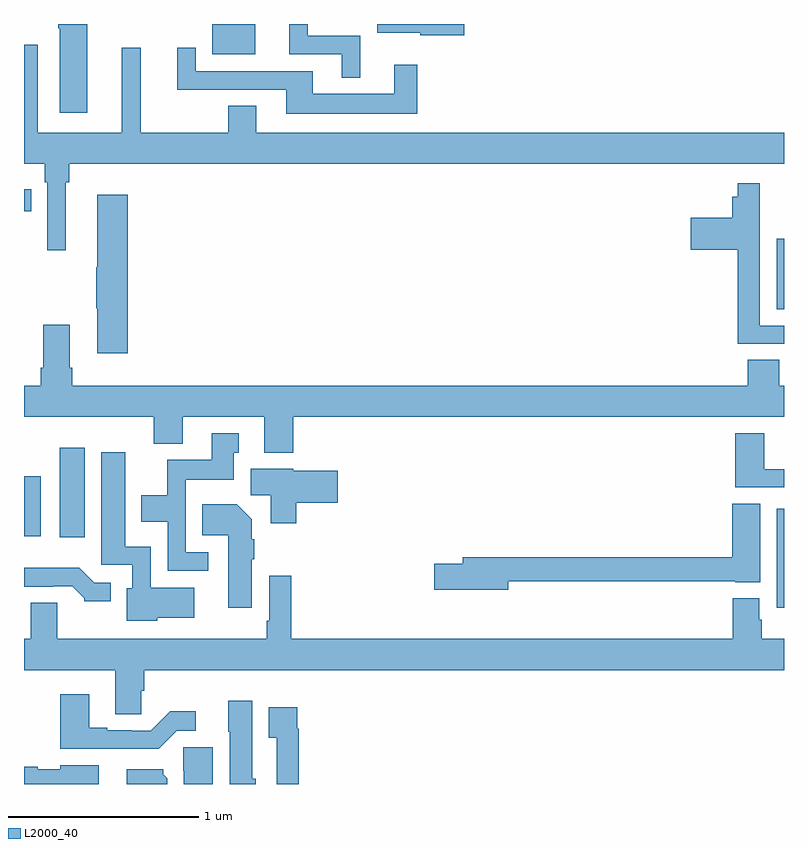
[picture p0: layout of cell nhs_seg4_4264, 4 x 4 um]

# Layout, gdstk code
import gdstk
lib = gdstk.Library(unit=1e-6, precision=1e-09)
def R(c, l, rs):  # rectangles x0, y0, x1, y1
    for r in rs: c.add(gdstk.rectangle(r[:2], r[2:], *l))
def P(c, l, *ps):  # polygons
    for p in ps: c.add(gdstk.Polygon(p, *l))
L2000_40 = (2000, 40)

nhs_seg4_4264 = lib.new_cell('nhs_seg4_4264')
R(nhs_seg4_4264, L2000_40, [(342.962,783.828,343,784.348), (339.188,784.2,339.319,784.669), (339,784.205,339.088,784.519), (342.962,785.4,343,785.769), (339,785.914,339.038,786.03), (339.992,786.74,340.216,786.9)])
P(nhs_seg4_4264, L2000_40, [(339.334,786.9),(339.181,786.9),(339.181,786.877),(339.188,786.877),(339.188,786.432),(339.334,786.432)],
  [(341.317,786.9),(340.859,786.9),(340.859,786.854),(341.085,786.854),(341.085,786.842),(341.317,786.842)],
  [(340.771,786.837),(340.494,786.837),(340.494,786.9),(340.397,786.9),(340.397,786.741),(340.673,786.741),(340.673,786.617),(340.771,786.617)],
  [(339.22,786.068),(339.239,786.068),(339.239,786.164),(343,786.164),(343,786.328),(340.222,786.328),(340.222,786.47),(340.075,786.47),(340.075,786.328),(339.614,786.328),(339.614,786.775),(339.515,786.775),(339.515,786.328),(339.073,786.328),(339.073,786.79),(339,786.79),(339,786.164),(339.11,786.164),(339.11,786.068),(339.123,786.068),(339.123,785.709),(339.22,785.709)],
  [(341.071,786.685),(340.949,786.685),(340.949,786.532),(340.519,786.532),(340.519,786.651),(339.903,786.651),(339.903,786.775),(339.806,786.775),(339.806,786.555),(340.379,786.555),(340.379,786.428),(341.071,786.428)],
  [(343,785.313),(342.873,785.313),(342.873,786.061),(342.757,786.061),(342.757,785.992),(342.728,785.992),(342.728,785.881),(342.51,785.881),(342.51,785.711),(342.757,785.711),(342.757,785.217),(343,785.217)],
  [(339.545,786.001),(339.386,786.001),(339.386,785.621),(339.379,785.621),(339.379,785.404),(339.386,785.404),(339.386,785.166),(339.545,785.166)],
  [(340.418,784.832),(343,784.832),(343,784.996),(342.974,784.996),(342.974,785.132),(342.809,785.132),(342.809,784.996),(339.254,784.996),(339.254,785.092),(339.241,785.092),(339.241,785.317),(339.101,785.317),(339.101,785.092),(339.089,785.092),(339.089,784.996),(339,784.996),(339,784.832),(339.683,784.832),(339.683,784.691),(339.835,784.691),(339.835,784.832),(340.265,784.832),(340.265,784.643),(340.418,784.643)],
  [(339.97,784.119),(339.852,784.119),(339.852,784.502),(340.105,784.502),(340.105,784.644),(340.129,784.644),(340.129,784.747),(339.989,784.747),(339.989,784.606),(339.754,784.606),(339.754,784.42),(339.617,784.42),(339.617,784.28),(339.756,784.28),(339.756,784.023),(339.97,784.023)],
  [(343,784.557),(342.895,784.557),(342.895,784.747),(342.743,784.747),(342.743,784.461),(343,784.461)],
  [(339.702,783.776),(339.895,783.776),(339.895,783.934),(339.666,783.934),(339.666,784.15),(339.532,784.15),(339.532,784.645),(339.407,784.645),(339.407,784.053),(339.57,784.053),(339.57,783.93),(339.542,783.93),(339.542,783.758),(339.702,783.758)],
  [(340.433,784.379),(340.651,784.379),(340.651,784.549),(340.416,784.549),(340.416,784.558),(340.193,784.558),(340.193,784.42),(340.298,784.42),(340.298,784.272),(340.433,784.272)],
  [(341.548,783.966),(342.744,783.966),(342.744,783.962),(342.874,783.962),(342.874,784.376),(342.728,784.376),(342.728,784.094),(341.309,784.094),(341.309,784.058),(341.16,784.058),(341.16,783.923),(341.548,783.923)],
  [(340.198,784.084),(340.211,784.084),(340.211,784.187),(340.198,784.187),(340.198,784.294),(340.12,784.372),(339.937,784.372),(339.937,784.208),(340.076,784.208),(340.076,783.828),(340.198,783.828)],
  [(339.457,783.96),(339.369,783.96),(339.291,784.039),(339,784.039),(339,783.939),(339.155,783.939),(339.155,783.942),(339.254,783.942),(339.318,783.878),(339.318,783.863),(339.457,783.863)],
  [(339.618,783.39),(339.632,783.39),(339.632,783.5),(343,783.5),(343,783.664),(342.884,783.664),(342.884,783.765),(342.871,783.765),(342.871,783.877),(342.731,783.877),(342.731,783.664),(340.406,783.664),(340.406,783.997),(340.29,783.997),(340.29,783.76),(340.278,783.76),(340.278,783.664),(339.175,783.664),(339.175,783.854),(339.035,783.854),(339.035,783.664),(339,783.664),(339,783.5),(339.479,783.5),(339.479,783.268),(339.618,783.268)],
  [(339.804,783.18),(339.904,783.18),(339.904,783.283),(339.769,783.283),(339.666,783.18),(339.566,783.18),(339.566,783.183),(339.439,783.183),(339.439,783.196),(339.343,783.196),(339.343,783.373),(339.191,783.373),(339.191,783.086),(339.71,783.086)],
  [(340.219,782.928),(340.201,782.928),(340.201,783.337),(340.076,783.337),(340.076,783.174),(340.082,783.174),(340.082,782.9),(340.219,782.9)],
  [(340.445,783.191),(340.438,783.191),(340.438,783.304),(340.289,783.304),(340.289,783.143),(340.329,783.143),(340.329,782.9),(340.445,782.9)],
  [(339.994,783.093),(339.838,783.093),(339.838,782.97),(339.842,782.97),(339.842,782.9),(339.994,782.9)],
  [(339.394,782.998),(339.192,782.998),(339.192,782.977),(339.072,782.977),(339.072,782.99),(339,782.99),(339,782.9),(339.394,782.9)],
  [(339.754,782.93),(339.732,782.952),(339.732,782.977),(339.542,782.977),(339.542,782.9),(339.754,782.9)])

lib.write_gds('nhs_seg4_4264.gds')
